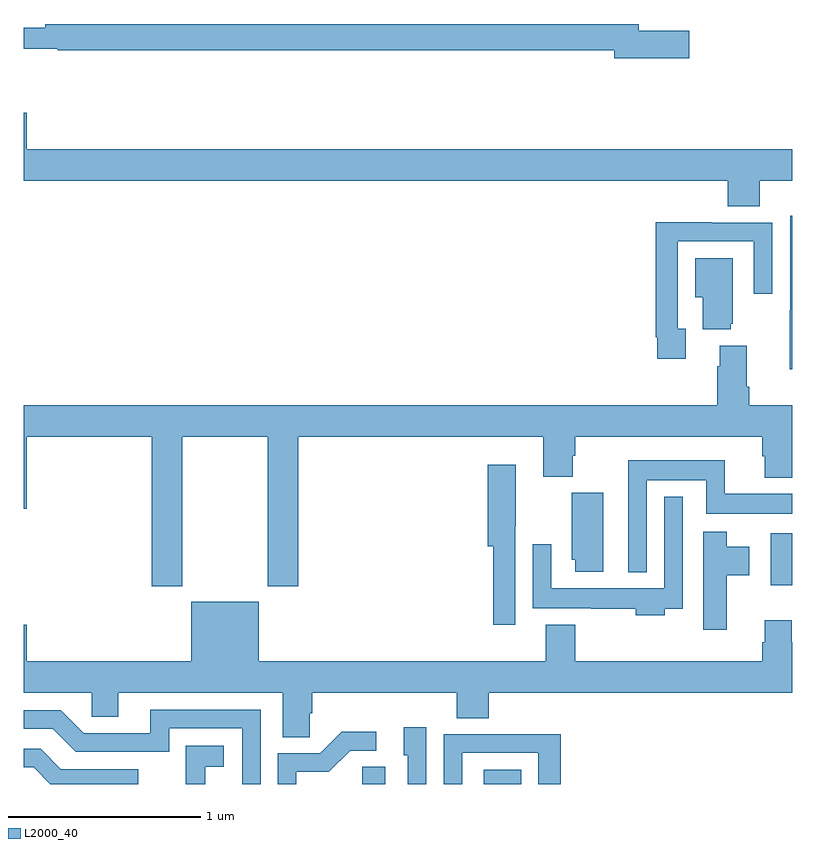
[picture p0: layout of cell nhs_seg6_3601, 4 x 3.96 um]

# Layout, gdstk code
import gdstk
lib = gdstk.Library(unit=1e-6, precision=1e-09)
def R(c, l, rs):  # rectangles x0, y0, x1, y1
    for r in rs: c.add(gdstk.rectangle(r[:2], r[2:], *l))
def P(c, l, *ps):  # polygons
    for p in ps: c.add(gdstk.Polygon(p, *l))
L2000_40 = (2000, 40)

nhs_seg6_3601 = lib.new_cell('nhs_seg6_3601')
R(nhs_seg6_3601, L2000_40, [(322.761,973.5,322.882,973.589), (323.393,973.5,323.59,973.573), (324.887,974.534,325,974.806)])
P(nhs_seg6_3601, L2000_40, [(324.463,977.42),(324.202,977.42),(324.202,977.456),(321.112,977.456),(321.112,977.437),(321,977.437),(321,977.328),(321.178,977.328),(321.178,977.32),(324.074,977.32),(324.074,977.278),(324.463,977.278)],
  [(324.83,976.64),(325,976.64),(325,976.804),(321.016,976.804),(321.016,976.993),(321,976.993),(321,976.64),(324.665,976.64),(324.665,976.507),(324.83,976.507)],
  [(325,976.459),(324.99,976.459),(324.99,975.965),(324.988,975.965),(324.988,975.659),(325,975.659)],
  [(324.445,975.87),(324.405,975.87),(324.405,976.326),(324.801,976.326),(324.801,976.053),(324.897,976.053),(324.897,976.422),(324.581,976.422),(324.581,976.424),(324.289,976.424),(324.289,975.826),(324.297,975.826),(324.297,975.714),(324.445,975.714)],
  [(324.68,975.897),(324.691,975.897),(324.691,976.237),(324.494,976.237),(324.494,976.034),(324.533,976.034),(324.533,975.866),(324.68,975.866)],
  [(321.825,975.308),(322.27,975.308),(322.27,974.529),(322.43,974.529),(322.43,975.308),(323.705,975.308),(323.705,975.1),(323.857,975.1),(323.857,975.209),(323.87,975.209),(323.87,975.308),(324.845,975.308),(324.845,975.207),(324.857,975.207),(324.857,975.095),(325,975.095),(325,975.472),(324.776,975.472),(324.776,975.568),(324.763,975.568),(324.763,975.781),(324.623,975.781),(324.623,975.674),(324.611,975.674),(324.611,975.472),(321,975.472),(321,974.934),(321.016,974.934),(321.016,975.308),(321.665,975.308),(321.665,974.529),(321.825,974.529)],
  [(324.243,975.08),(324.552,975.08),(324.552,974.906),(325,974.906),(325,975.01),(324.65,975.01),(324.65,975.184),(324.146,975.184),(324.146,974.603),(324.243,974.603)],
  [(323.559,974.842),(323.56,974.842),(323.56,975.163),(323.414,975.163),(323.414,974.738),(323.443,974.738),(323.443,974.328),(323.559,974.328)],
  [(324.016,975.015),(323.852,975.015),(323.852,974.667),(323.87,974.667),(323.87,974.604),(324.016,974.604)],
  [(324.337,974.412),(324.429,974.412),(324.429,974.995),(324.333,974.995),(324.333,974.518),(323.745,974.518),(323.745,974.749),(323.649,974.749),(323.649,974.414),(323.953,974.414),(323.953,974.412),(324.185,974.412),(324.185,974.378),(324.337,974.378)],
  [(324.658,974.587),(324.775,974.587),(324.775,974.734),(324.658,974.734),(324.658,974.812),(324.536,974.812),(324.536,974.304),(324.658,974.304)],
  [(322.488,973.867),(322.502,973.867),(322.502,973.976),(323.255,973.976),(323.255,973.843),(323.42,973.843),(323.42,973.976),(325,973.976),(325,974.238),(324.997,974.238),(324.997,974.353),(324.857,974.353),(324.857,974.238),(324.845,974.238),(324.845,974.14),(323.87,974.14),(323.87,974.329),(323.717,974.329),(323.717,974.14),(322.222,974.14),(322.222,974.449),(321.872,974.449),(321.872,974.14),(321.016,974.14),(321.016,974.329),(321,974.329),(321,973.976),(321.354,973.976),(321.354,973.849),(321.493,973.849),(321.493,973.976),(322.349,973.976),(322.349,973.744),(322.488,973.744)],
  [(322.233,973.887),(321.659,973.887),(321.659,973.764),(321.312,973.764),(321.192,973.884),(321,973.884),(321,973.788),(321.15,973.788),(321.27,973.668),(321.756,973.668),(321.756,973.791),(322.137,973.791),(322.137,973.5),(322.233,973.5)],
  [(323.094,973.795),(322.979,973.795),(322.979,973.65),(322.998,973.65),(322.998,973.5),(323.094,973.5)],
  [(322.419,973.563),(322.588,973.563),(322.699,973.674),(322.834,973.674),(322.834,973.772),(322.655,973.772),(322.542,973.659),(322.323,973.659),(322.323,973.5),(322.419,973.5)],
  [(323.283,973.662),(323.679,973.662),(323.679,973.5),(323.795,973.5),(323.795,973.76),(323.503,973.76),(323.503,973.758),(323.187,973.758),(323.187,973.5),(323.283,973.5)],
  [(321.944,973.589),(322.042,973.589),(322.042,973.699),(321.844,973.699),(321.844,973.5),(321.944,973.5)],
  [(321.597,973.578),(321.193,973.578),(321.088,973.683),(321,973.683),(321,973.586),(321.052,973.586),(321.138,973.5),(321.597,973.5)])

lib.write_gds('nhs_seg6_3601.gds')
